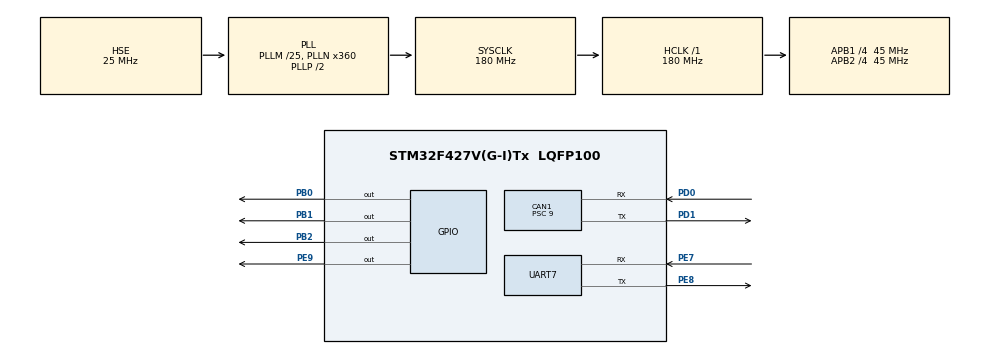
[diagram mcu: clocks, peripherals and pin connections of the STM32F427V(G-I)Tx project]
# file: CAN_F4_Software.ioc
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CAN1.BS1=CAN_BS1_7TQ
CAN1.BS2=CAN_BS2_2TQ
CAN1.CalculateBaudRate=500000
CAN1.CalculateTimeBit=2000.00
CAN1.CalculateTimeQuantum=200.0
CAN1.Prescaler=9
Mcu.Family=STM32F4
Mcu.Name=STM32F427V(G-I)Tx
Mcu.Package=LQFP100
NVIC.CAN1_RX0_IRQn=true\:0\:0\:false\:false\:true\:true\:true
NVIC.CAN1_RX1_IRQn=true\:0\:0\:false\:false\:true\:true\:true
NVIC.CAN1_SCE_IRQn=true\:0\:0\:false\:false\:true\:true\:true
NVIC.PriorityGroup=NVIC_PRIORITYGROUP_4
PB0.Signal=GPIO_Output
PB1.Signal=GPIO_Output
PB2/BOOT1.Signal=GPIO_Output
PD0.Mode=CAN_Activate
PD0.Signal=CAN1_RX
PD1.Mode=CAN_Activate
PD1.Signal=CAN1_TX
PE7.Mode=Asynchronous
PE7.Signal=UART7_RX
PE8.Mode=Asynchronous
PE8.Signal=UART7_TX
PE9.Signal=GPIO_Output
PH0/OSC_IN.Mode=HSE-External-Clock-Source
PH0/OSC_IN.Signal=RCC_OSC_IN
PH1/OSC_OUT.Mode=HSE-External-Clock-Source
PH1/OSC_OUT.Signal=RCC_OSC_OUT
ProjectManager.HeapSize=0x400
ProjectManager.StackSize=0x800
ProjectManager.TargetToolchain=MDK-ARM V5.32
RCC.48MHZClocksFreq_Value=90000000
RCC.AHBFreq_Value=180000000
RCC.APB1CLKDivider=RCC_HCLK_DIV4
RCC.APB1Freq_Value=45000000
RCC.APB1TimFreq_Value=90000000
RCC.APB2CLKDivider=RCC_HCLK_DIV4
RCC.APB2Freq_Value=45000000
RCC.APB2TimFreq_Value=90000000
RCC.CortexFreq_Value=180000000
RCC.HCLKFreq_Value=180000000
RCC.HSE_VALUE=25000000
RCC.HSI_VALUE=16000000
RCC.LSE_VALUE=32768
RCC.PLLM=25
RCC.PLLN=360
RCC.PLLSourceVirtual=RCC_PLLSOURCE_HSE
RCC.SYSCLKFreq_VALUE=180000000
RCC.SYSCLKSource=RCC_SYSCLKSOURCE_PLLCLK
RCC.VCOOutputFreq_Value=360000000
UART7.VirtualMode=Asynchronous
board=custom

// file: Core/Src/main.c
/* USER CODE BEGIN Header */
/**
  ******************************************************************************
  * @file           : main.c
  * @brief          : Main program body
  ******************************************************************************
  * @attention
  *
  * <h2><center>&copy; Copyright (c) 2021 STMicroelectronics.
  * All rights reserved.</center></h2>
  *
  * This software component is licensed by ST under BSD 3-Clause license,
  * the "License"; You may not use this file except in compliance with the
  * License. You may obtain a copy of the License at:
  *                        opensource.org/licenses/BSD-3-Clause
  *
  ******************************************************************************
  */
/* USER CODE END Header */
#include "main.h"

CAN_HandleTypeDef hcan1;

UART_HandleTypeDef huart7;

void SystemClock_Config(void);
static void MX_GPIO_Init(void);
static void MX_CAN1_Init(void);
static void MX_UART7_Init(void);

/* USER CODE BEGIN 0 */
void HAL_RCC_Clock(void)
{
	log_info("[HAL_Get_CPU_RCC_Clock]HAL_RCC_SysClockFreq:%dMHz\r\n",HAL_RCC_GetSysClockFreq()/1000000);
	log_info("[HAL_Get_CPU_RCC_Clock]HAL_RCC_HCLKFreq:%dMHz\r\n",HAL_RCC_GetHCLKFreq()/1000000);
	log_info("[HAL_Get_CPU_RCC_Clock]HAL_RCC_PCLK1Freq:%dMHz\r\n",HAL_RCC_GetPCLK1Freq()/1000000);
	log_info("[HAL_Get_CPU_RCC_Clock]HAL_RCC_PCLK2Freq:%dMHz\r\n",HAL_RCC_GetPCLK2Freq()/1000000);
}

/* USER CODE END 0 */

int main(void)
{

  /* MCU Configuration--------------------------------------------------------*/

  /* Reset of all peripherals, Initializes the Flash interface and the Systick. */
  HAL_Init();

  /* Configure the system clock */
  SystemClock_Config();

  /* Initialize all configured peripherals */
  MX_GPIO_Init();
  MX_CAN1_Init();
  MX_UART7_Init();

  /* Infinite loop */
  /* USER CODE BEGIN WHILE */

	log_info("[AMS]Base Hardware Init OK!\r\n");
	HAL_RCC_Clock();

	can_init();

  while (1)
  {
		HAL_CAN_SendTxMessage(&TxHeader,0x1ff,CAN_txdata,8);
		HAL_Delay(100);
		HAL_CAN_SendTxMessage(&TxHeader,0x10,CAN_txdata,8);

		if(CAN_rxflag)
		{
			CAN_rxflag=0;
			log_info("CAN1 Rx Data,StdId=0x%x,ExtId=0x%x,IDE=0x%x,RTR=0x%x,DLC=%d,d0=0x%x,d1=0x%x\r\n",RxHeader.StdId,RxHeader.ExtId,RxHeader.IDE,RxHeader.RTR,RxHeader.DLC,CAN_rxdata[0],CAN_rxdata[1]);
		}

		HAL_GPIO_WritePin(GPIOB, GPIO_PIN_1|GPIO_PIN_2, GPIO_PIN_RESET);
    HAL_Delay(200);
		HAL_GPIO_WritePin(GPIOB, GPIO_PIN_1|GPIO_PIN_2, GPIO_PIN_SET);
		HAL_Delay(200);

		/* USER CODE END WHILE */

  }
}

void SystemClock_Config(void)
{
  RCC_OscInitTypeDef RCC_OscInitStruct = {0};
  RCC_ClkInitTypeDef RCC_ClkInitStruct = {0};

  /** Configure the main internal regulator output voltage
  */
  __HAL_RCC_PWR_CLK_ENABLE();
  __HAL_PWR_VOLTAGESCALING_CONFIG(PWR_REGULATOR_VOLTAGE_SCALE1);
  /** Initializes the RCC Oscillators according to the specified parameters
  * in the RCC_OscInitTypeDef structure.
  */
  RCC_OscInitStruct.OscillatorType = RCC_OSCILLATORTYPE_HSE;
  RCC_OscInitStruct.HSEState = RCC_HSE_BYPASS;
  RCC_OscInitStruct.PLL.PLLState = RCC_PLL_ON;
  RCC_OscInitStruct.PLL.PLLSource = RCC_PLLSOURCE_HSE;
  RCC_OscInitStruct.PLL.PLLM = 25;
  RCC_OscInitStruct.PLL.PLLN = 360;
  RCC_OscInitStruct.PLL.PLLP = RCC_PLLP_DIV2;
  RCC_OscInitStruct.PLL.PLLQ = 4;
  if (HAL_RCC_OscConfig(&RCC_OscInitStruct) != HAL_OK)
  {
    Error_Handler();
  }
  /** Activate the Over-Drive mode
  */
  if (HAL_PWREx_EnableOverDrive() != HAL_OK)
  {
    Error_Handler();
  }
  /** Initializes the CPU, AHB and APB buses clocks
  */
  RCC_ClkInitStruct.ClockType = RCC_CLOCKTYPE_HCLK|RCC_CLOCKTYPE_SYSCLK
                              |RCC_CLOCKTYPE_PCLK1|RCC_CLOCKTYPE_PCLK2;
  RCC_ClkInitStruct.SYSCLKSource = RCC_SYSCLKSOURCE_PLLCLK;
  RCC_ClkInitStruct.AHBCLKDivider = RCC_SYSCLK_DIV1;
  RCC_ClkInitStruct.APB1CLKDivider = RCC_HCLK_DIV4;
  RCC_ClkInitStruct.APB2CLKDivider = RCC_HCLK_DIV4;

  if (HAL_RCC_ClockConfig(&RCC_ClkInitStruct, FLASH_LATENCY_5) != HAL_OK)
  {
    Error_Handler();
  }
}

static void MX_CAN1_Init(void)
{

  hcan1.Instance = CAN1;
  hcan1.Init.Prescaler = 9;
  hcan1.Init.Mode = CAN_MODE_NORMAL;
  hcan1.Init.SyncJumpWidth = CAN_SJW_1TQ;
  hcan1.Init.TimeSeg1 = CAN_BS1_7TQ;
  hcan1.Init.TimeSeg2 = CAN_BS2_2TQ;
  hcan1.Init.TimeTriggeredMode = DISABLE;
  hcan1.Init.AutoBusOff = DISABLE;
  hcan1.Init.AutoWakeUp = DISABLE;
  hcan1.Init.AutoRetransmission = DISABLE;
  hcan1.Init.ReceiveFifoLocked = DISABLE;
  hcan1.Init.TransmitFifoPriority = DISABLE;
  if (HAL_CAN_Init(&hcan1) != HAL_OK)
  {
    Error_Handler();
  }

}

static void MX_UART7_Init(void)
{

  huart7.Instance = UART7;
  huart7.Init.BaudRate = 115200;
  huart7.Init.WordLength = UART_WORDLENGTH_8B;
  huart7.Init.StopBits = UART_STOPBITS_1;
  huart7.Init.Parity = UART_PARITY_NONE;
  huart7.Init.Mode = UART_MODE_TX_RX;
  huart7.Init.HwFlowCtl = UART_HWCONTROL_NONE;
  huart7.Init.OverSampling = UART_OVERSAMPLING_16;
  if (HAL_UART_Init(&huart7) != HAL_OK)
  {
    Error_Handler();
  }

}

static void MX_GPIO_Init(void)
{
  GPIO_InitTypeDef GPIO_InitStruct = {0};

  /* GPIO Ports Clock Enable */
  __HAL_RCC_GPIOH_CLK_ENABLE();
  __HAL_RCC_GPIOB_CLK_ENABLE();
  __HAL_RCC_GPIOE_CLK_ENABLE();
  __HAL_RCC_GPIOD_CLK_ENABLE();

  /*Configure GPIO pin Output Level */
  HAL_GPIO_WritePin(GPIOB, GPIO_PIN_0|GPIO_PIN_1|GPIO_PIN_2, GPIO_PIN_RESET);

  /*Configure GPIO pin Output Level */
  HAL_GPIO_WritePin(GPIOE, GPIO_PIN_9, GPIO_PIN_RESET);

  /*Configure GPIO pins : PB0 PB1 PB2 */
  GPIO_InitStruct.Pin = GPIO_PIN_0|GPIO_PIN_1|GPIO_PIN_2;
  GPIO_InitStruct.Mode = GPIO_MODE_OUTPUT_PP;
  GPIO_InitStruct.Pull = GPIO_NOPULL;
  GPIO_InitStruct.Speed = GPIO_SPEED_FREQ_LOW;
  HAL_GPIO_Init(GPIOB, &GPIO_InitStruct);

  /*Configure GPIO pin : PE9 */
  GPIO_InitStruct.Pin = GPIO_PIN_9;
  GPIO_InitStruct.Mode = GPIO_MODE_OUTPUT_PP;
  GPIO_InitStruct.Pull = GPIO_NOPULL;
  GPIO_InitStruct.Speed = GPIO_SPEED_FREQ_LOW;
  HAL_GPIO_Init(GPIOE, &GPIO_InitStruct);

}

void Error_Handler(void)
{
  __disable_irq();
  while (1)
  {
  }
}

/************************ (C) COPYRIGHT STMicroelectronics *****END OF FILE****/
